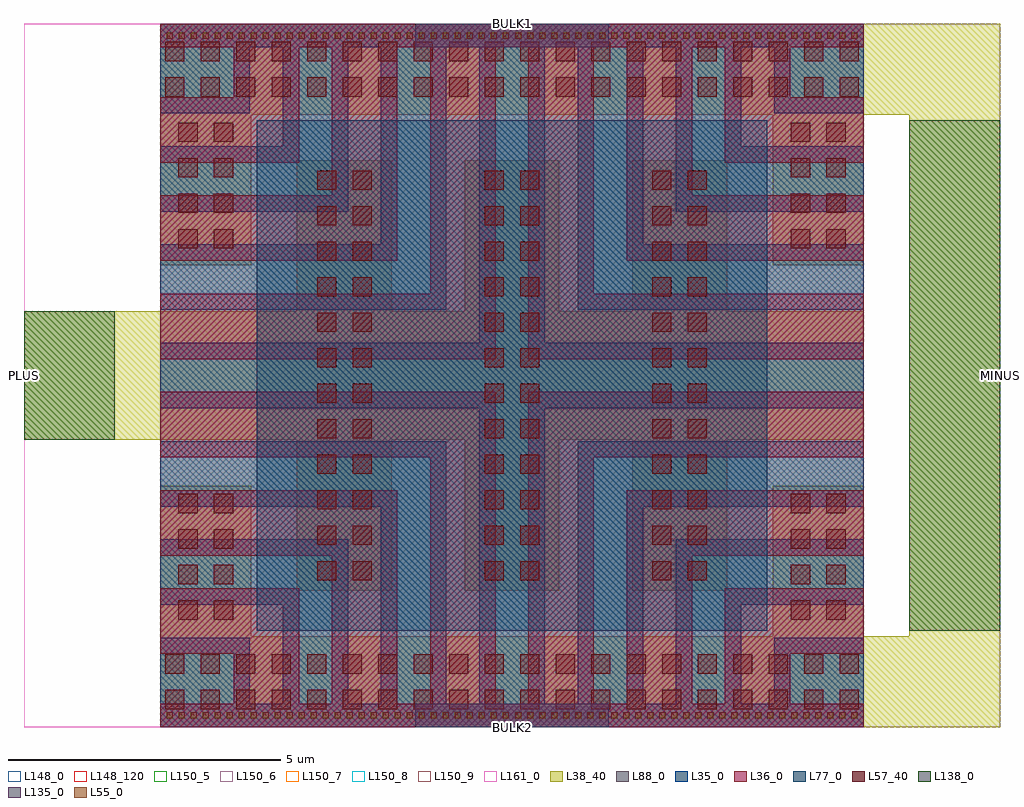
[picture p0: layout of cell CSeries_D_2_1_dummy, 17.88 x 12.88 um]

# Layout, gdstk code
import gdstk
lib = gdstk.Library(unit=1e-6, precision=1e-09)
def R(c, l, rs):  # rectangles x0, y0, x1, y1
    for r in rs: c.add(gdstk.rectangle(r[:2], r[2:], *l))
def A(c, l, x, y, w, h, nx, ny, dx, dy):  # array of equal rectangles
    R(c, l, [(x+i*dx, y+j*dy, x+i*dx+w, y+j*dy+h) for i in range(nx) for j in range(ny)])
def P(c, l, *ps):  # polygons
    for p in ps: c.add(gdstk.Polygon(p, *l))
L35_0 = (35, 0)
L36_0 = (36, 0)
L38_40 = (38, 40)
L55_0 = (55, 0)
L57_40 = (57, 40)
L77_0 = (77, 0)
L88_0 = (88, 0)
L135_0 = (135, 0)
L138_0 = (138, 0)
L148_0 = (148, 0)
L148_120 = (148, 120)
L150_5 = (150, 5)
L150_6 = (150, 6)
L150_7 = (150, 7)
L150_8 = (150, 8)
L150_9 = (150, 9)
L161_0 = (161, 0)

cseries_d_2_1_dummy = lib.new_cell('CSeries_D_2_1_dummy')
R(cseries_d_2_1_dummy, L35_0, [(-1.76,-1.76,11.12,-1.33), (-1.32,-1.76,-0.12,-0.72), (0.48,-1.76,1.68,1.08), (2.28,-1.76,3.48,2.88), (4.08,-1.76,5.28,11.12), (5.88,-1.76,7.08,2.88), (7.68,-1.76,8.88,1.08), (9.48,-1.76,10.68,-0.72), (-1.76,-1.32,-0.12,-0.12), (9.48,-1.32,11.12,-0.12), (-1.76,0.48,1.68,1.68), (7.68,0.48,11.12,1.68), (-1.76,2.28,3.48,3.48), (5.88,2.28,11.12,3.48), (-1.76,4.08,11.12,5.28), (-1.76,5.88,3.48,7.08), (5.88,5.88,11.12,7.08), (2.28,6.48,3.48,11.12), (5.88,6.48,7.08,11.12), (-1.76,7.68,1.68,8.88), (7.68,7.68,11.12,8.88), (0.48,8.28,1.68,11.12), (7.68,8.28,8.88,11.12), (-1.76,9.48,-0.12,10.68), (9.48,9.48,11.12,10.68), (-1.32,10.08,-0.12,11.12), (9.48,10.08,10.68,11.12), (-1.76,10.69,11.12,11.12)])
R(cseries_d_2_1_dummy, L36_0, [(-1.76,-1.76,11.12,-1.33), (-0.42,-1.76,0.78,0.18), (1.38,-1.76,2.58,1.98), (3.18,-1.76,4.38,3.78), (4.98,-1.76,6.18,3.78), (6.78,-1.76,7.98,1.98), (8.58,-1.76,9.78,0.18), (-1.76,-0.42,0.78,0.78), (8.58,-0.42,11.12,0.78), (-1.76,1.38,2.58,2.58), (6.78,1.38,11.12,2.58), (-1.76,3.18,4.38,4.38), (4.98,3.18,11.12,4.38), (-1.76,4.98,4.38,6.18), (4.98,4.98,11.12,6.18), (3.18,5.58,4.38,11.12), (4.98,5.58,6.18,11.12), (-1.76,6.78,2.58,7.98), (6.78,6.78,11.12,7.98), (1.38,7.38,2.58,11.12), (6.78,7.38,7.98,11.12), (-1.76,8.58,0.78,9.78), (8.58,8.58,11.12,9.78), (-0.42,9.18,0.78,11.12), (8.58,9.18,9.78,11.12), (-1.76,10.69,11.12,11.12)])
A(cseries_d_2_1_dummy, L38_40, 0.74, 0.74, 1.74, 2.76, 3, 1, 3.07, 0)
R(cseries_d_2_1_dummy, L38_40, [(11.12,-1.76,13.62,-0.1), (11.96,-1.76,13.62,11.12), (-4.26,3.5,11.12,5.86), (0.74,5.86,2.48,8.62), (0.74,5.86,2.48,8.62), (3.81,5.86,5.55,8.62), (3.81,5.86,5.55,8.62), (6.88,5.86,8.62,8.62), (6.88,5.86,8.62,8.62), (11.12,9.46,13.62,11.12)])
P(cseries_d_2_1_dummy, L38_40, [(-0.1,9.46),(9.46,9.46),(9.46,6.7),(11.12,6.7),(11.12,11.12),(-1.76,11.12),(-1.76,6.7),(-0.1,6.7)],
  [(-1.76,2.66),(-1.76,-1.76),(11.12,-1.76),(11.12,2.66),(9.46,2.66),(9.46,-0.1),(-0.1,-0.1),(-0.1,2.66)])
A(cseries_d_2_1_dummy, L55_0, -1.645, -1.6, 0.11, 0.11, 58, 2, 0.22, 12.45)
A(cseries_d_2_1_dummy, L57_40, -1.67, -1.43, 0.35, 0.35, 20, 2, 0.65, 0.65)
A(cseries_d_2_1_dummy, L57_40, -1.43, 0.21, 0.35, 0.35, 1, 4, 0, 0.65)
A(cseries_d_2_1_dummy, L57_40, -0.78, 0.21, 0.35, 0.35, 1, 4, 0, 0.65)
A(cseries_d_2_1_dummy, L57_40, 9.79, 0.21, 0.35, 0.35, 1, 4, 0, 0.65)
A(cseries_d_2_1_dummy, L57_40, 10.44, 0.21, 0.35, 0.35, 1, 4, 0, 0.65)
A(cseries_d_2_1_dummy, L57_40, 1.11, 0.93, 0.35, 0.35, 1, 12, 0, 0.65)
A(cseries_d_2_1_dummy, L57_40, 1.76, 0.93, 0.35, 0.35, 1, 12, 0, 0.65)
A(cseries_d_2_1_dummy, L57_40, 4.18, 0.93, 0.35, 0.35, 1, 12, 0, 0.65)
A(cseries_d_2_1_dummy, L57_40, 4.83, 0.93, 0.35, 0.35, 1, 12, 0, 0.65)
A(cseries_d_2_1_dummy, L57_40, 7.25, 0.93, 0.35, 0.35, 1, 12, 0, 0.65)
A(cseries_d_2_1_dummy, L57_40, 7.9, 0.93, 0.35, 0.35, 1, 12, 0, 0.65)
A(cseries_d_2_1_dummy, L57_40, -1.43, 7.01, 0.35, 0.35, 1, 4, 0, 0.65)
A(cseries_d_2_1_dummy, L57_40, -0.78, 7.01, 0.35, 0.35, 1, 4, 0, 0.65)
A(cseries_d_2_1_dummy, L57_40, 9.79, 7.01, 0.35, 0.35, 1, 4, 0, 0.65)
A(cseries_d_2_1_dummy, L57_40, 10.44, 7.01, 0.35, 0.35, 1, 4, 0, 0.65)
A(cseries_d_2_1_dummy, L57_40, -1.67, 9.79, 0.35, 0.35, 20, 2, 0.65, 0.65)
R(cseries_d_2_1_dummy, L77_0, [(0,0,9.36,9.36)])
R(cseries_d_2_1_dummy, L88_0, [(-1.76,-1.76,11.12,11.12)])
R(cseries_d_2_1_dummy, L135_0, [(2.905,-1.76,6.455,-1.33), (2.905,10.69,6.455,11.12)])
R(cseries_d_2_1_dummy, L138_0, [(11.96,0,13.62,9.36), (-4.26,3.5,-2.6,5.86)])
R(cseries_d_2_1_dummy, L148_0, [(-4.26,-1.76,13.62,11.12)])
R(cseries_d_2_1_dummy, L148_120, [(-4.26,-1.76,13.62,11.12)])
R(cseries_d_2_1_dummy, L150_5, [(-4.26,-1.76,13.62,11.12)])
R(cseries_d_2_1_dummy, L150_6, [(-4.26,-1.76,13.62,11.12)])
R(cseries_d_2_1_dummy, L150_7, [(-4.26,-1.76,13.62,11.12)])
R(cseries_d_2_1_dummy, L150_8, [(-4.26,-1.76,13.62,11.12)])
R(cseries_d_2_1_dummy, L150_9, [(-4.26,-1.76,13.62,11.12)])
R(cseries_d_2_1_dummy, L161_0, [(-4.26,-1.76,13.62,11.12)])
cseries_d_2_1_dummy.add(gdstk.Label('BULK1', (4.68,11.12), layer=135, texttype=0))
cseries_d_2_1_dummy.add(gdstk.Label('BULK2', (4.68,-1.76), layer=135, texttype=0))
cseries_d_2_1_dummy.add(gdstk.Label('PLUS', (-4.26,4.68), layer=138, texttype=0))
cseries_d_2_1_dummy.add(gdstk.Label('MINUS', (13.62,4.68), layer=138, texttype=0))

lib.write_gds('CSeries_D_2_1_dummy.gds')
